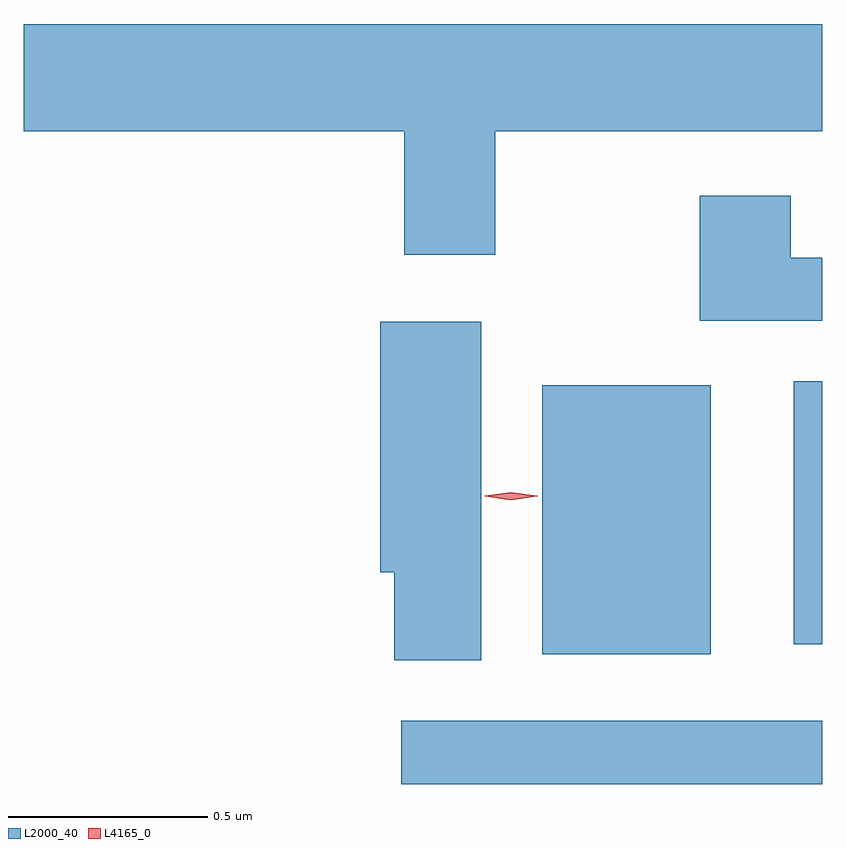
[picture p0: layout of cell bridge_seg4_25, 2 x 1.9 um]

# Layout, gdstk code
import gdstk
lib = gdstk.Library(unit=1e-6, precision=1e-09)
def R(c, l, rs):  # rectangles x0, y0, x1, y1
    for r in rs: c.add(gdstk.rectangle(r[:2], r[2:], *l))
def P(c, l, *ps):  # polygons
    for p in ps: c.add(gdstk.Polygon(p, *l))
L2000_40 = (2000, 40)
L4165_0 = (4165, 0)

bridge_seg4_25 = lib.new_cell('bridge_seg4_25')
R(bridge_seg4_25, L2000_40, [(1205.063,1255.361,1206.118,1255.519), (1205.416,1255.686,1205.839,1256.359), (1206.046,1255.711,1206.118,1256.369)])
P(bridge_seg4_25, L2000_40, [(1205.299,1256.996),(1206.118,1256.996),(1206.118,1257.264),(1204.118,1257.264),(1204.118,1256.996),(1205.071,1256.996),(1205.071,1256.686),(1205.299,1256.686)],
  [(1206.118,1256.679),(1206.039,1256.679),(1206.039,1256.834),(1205.811,1256.834),(1205.811,1256.521),(1206.118,1256.521)],
  [(1205.264,1256.519),(1205.011,1256.519),(1205.011,1255.891),(1205.046,1255.891),(1205.046,1255.671),(1205.264,1255.671)])
P(bridge_seg4_25, L4165_0, [(1205.338,1256.072),(1205.272,1256.082),(1205.272,1256.082),(1205.272,1256.083),(1205.338,1256.092),(1205.404,1256.083),(1205.405,1256.082),(1205.404,1256.082)])

lib.write_gds('bridge_seg4_25.gds')
